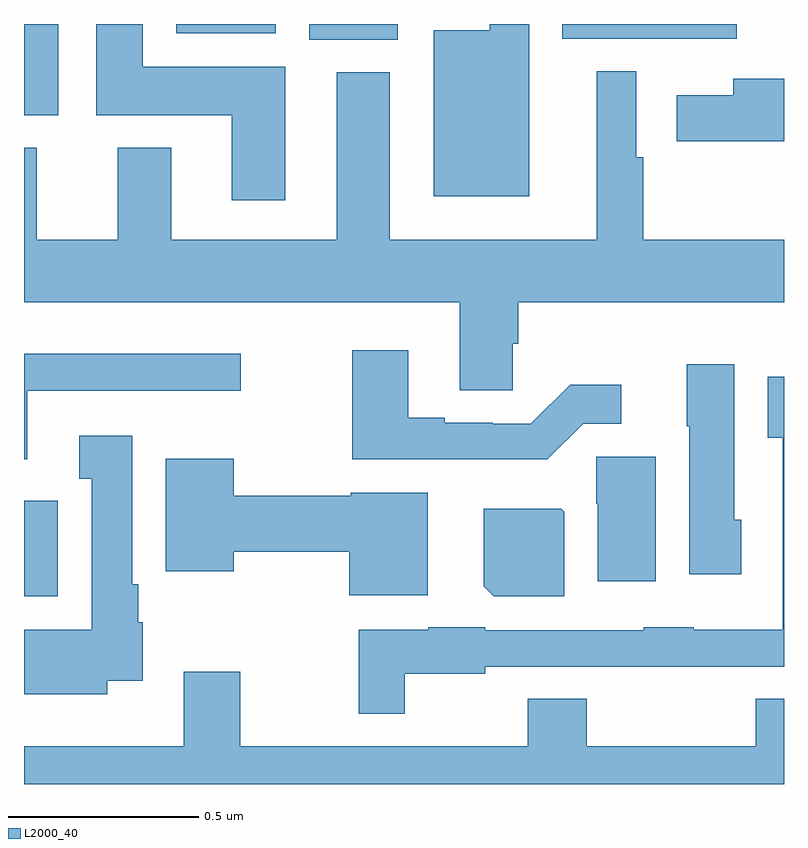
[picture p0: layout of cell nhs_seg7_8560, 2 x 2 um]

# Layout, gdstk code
import gdstk
lib = gdstk.Library(unit=1e-6, precision=1e-09)
def R(c, l, rs):  # rectangles x0, y0, x1, y1
    for r in rs: c.add(gdstk.rectangle(r[:2], r[2:], *l))
def P(c, l, *ps):  # polygons
    for p in ps: c.add(gdstk.Polygon(p, *l))
L2000_40 = (2000, 40)

nhs_seg7_8560 = lib.new_cell('nhs_seg7_8560')
R(nhs_seg7_8560, L2000_40, [(226,1014.494,226.089,1014.745), (226,1015.76,226.09,1016), (226.751,1015.958,226.984,1016), (227.417,1015.961,227.875,1016), (226.4,1015.976,226.663,1016)])
P(nhs_seg7_8560, L2000_40, [(227.329,1016),(227.225,1016),(227.225,1015.984),(227.078,1015.984),(227.078,1015.547),(227.329,1015.547)],
  [(226.687,1015.888),(226.312,1015.888),(226.312,1016),(226.19,1016),(226.19,1015.76),(226.547,1015.76),(226.547,1015.536),(226.687,1015.536)],
  [(227.286,1015.158),(227.3,1015.158),(227.3,1015.268),(228,1015.268),(228,1015.432),(227.629,1015.432),(227.629,1015.649),(227.611,1015.649),(227.611,1015.876),(227.507,1015.876),(227.507,1015.432),(226.963,1015.432),(226.963,1015.873),(226.823,1015.873),(226.823,1015.432),(226.387,1015.432),(226.387,1015.675),(226.247,1015.675),(226.247,1015.432),(226.033,1015.432),(226.033,1015.675),(226,1015.675),(226,1015.268),(227.147,1015.268),(227.147,1015.036),(227.286,1015.036)],
  [(228,1015.856),(227.867,1015.856),(227.867,1015.813),(227.718,1015.813),(227.718,1015.691),(228,1015.691)],
  [(227.472,1014.948),(227.572,1014.948),(227.572,1015.051),(227.437,1015.051),(227.334,1014.948),(227.234,1014.948),(227.234,1014.951),(227.107,1014.951),(227.107,1014.964),(227.011,1014.964),(227.011,1015.141),(226.864,1015.141),(226.864,1014.854),(227.377,1014.854)],
  [(226.009,1015.035),(226.57,1015.035),(226.57,1015.132),(226,1015.132),(226,1014.854),(226.009,1014.854)],
  [(227.887,1014.696),(227.869,1014.696),(227.869,1015.105),(227.744,1015.105),(227.744,1014.942),(227.75,1014.942),(227.75,1014.552),(227.887,1014.552)],
  [(227.002,1014.29),(227.214,1014.29),(227.214,1014.309),(227.631,1014.309),(227.631,1014.308),(227.863,1014.308),(227.863,1014.309),(228,1014.309),(228,1015.072),(227.957,1015.072),(227.957,1014.911),(227.997,1014.911),(227.997,1014.406),(227.763,1014.406),(227.763,1014.412),(227.631,1014.412),(227.631,1014.405),(227.214,1014.405),(227.214,1014.412),(227.064,1014.412),(227.064,1014.406),(226.881,1014.406),(226.881,1014.185),(227.002,1014.185)],
  [(226.219,1014.272),(226.312,1014.272),(226.312,1014.426),(226.3,1014.426),(226.3,1014.526),(226.285,1014.526),(226.285,1014.916),(226.145,1014.916),(226.145,1014.803),(226.178,1014.803),(226.178,1014.406),(226,1014.406),(226,1014.236),(226.219,1014.236)],
  [(227.662,1014.861),(227.506,1014.861),(227.506,1014.738),(227.51,1014.738),(227.51,1014.534),(227.662,1014.534)],
  [(227.062,1014.766),(226.86,1014.766),(226.86,1014.758),(226.552,1014.758),(226.552,1014.856),(226.373,1014.856),(226.373,1014.56),(226.552,1014.56),(226.552,1014.611),(226.856,1014.611),(226.856,1014.497),(227.062,1014.497)],
  [(227.422,1014.716),(227.414,1014.724),(227.21,1014.724),(227.21,1014.52),(227.236,1014.494),(227.422,1014.494)],
  [(228,1014.224),(227.926,1014.224),(227.926,1014.1),(227.481,1014.1),(227.481,1014.224),(227.326,1014.224),(227.326,1014.1),(226.569,1014.1),(226.569,1014.295),(226.421,1014.295),(226.421,1014.1),(226,1014.1),(226,1014),(228,1014)])

lib.write_gds('nhs_seg7_8560.gds')
